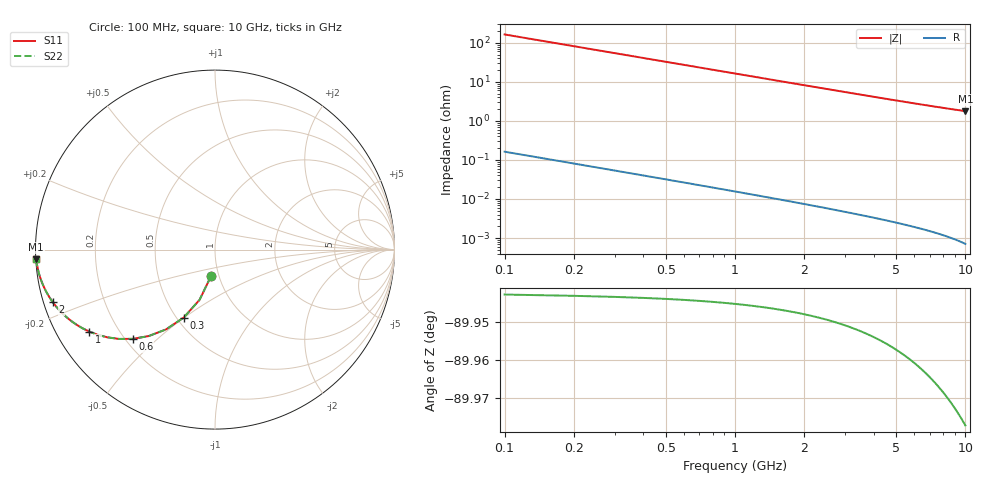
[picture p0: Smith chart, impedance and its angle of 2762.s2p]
# Hz S RI R 50.00
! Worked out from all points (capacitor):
!   100 points, 100 MHz to 10 GHz, reference 50 ohm
!   read as one part in shunt: C = 9.75 pF near 100 MHz
!   lowest |Z| = 1.78 ohm at 10 GHz (marker M1)
!   S11 on the Smith chart (normalised r, x): 100 MHz: 0.91, -0.28; 300 MHz: 0.54, -0.50; 600 MHz: 0.23, -0.42; 1 GHz: 0.10, -0.29; 2 GHz: 0.03, -0.16; 10 GHz: 0.00, -0.03
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1e8  -0.023 -0.1495  0.9769 -0.1497  0.9769 -0.1497  -0.023 -0.1495
2e8  -0.086 -0.2798  0.9139 -0.2801  0.9139 -0.2801  -0.086 -0.2798
3e8  -0.1746 -0.3789  0.8254 -0.3793  0.8254 -0.3793  -0.1746 -0.3789
4e8  -0.2731 -0.4448  0.7268 -0.4454  0.7268 -0.4454  -0.2731 -0.4448
5e8  -0.3698 -0.4819  0.6301 -0.4826  0.6301 -0.4826  -0.3698 -0.4819
6e8  -0.4579 -0.4973  0.542 -0.4982  0.542 -0.4982  -0.4579 -0.4973
7e8  -0.5347 -0.4978  0.4652 -0.4988  0.4652 -0.4988  -0.5347 -0.4978
8e8  -0.6001 -0.4888  0.3998 -0.49  0.3998 -0.49  -0.6001 -0.4888
9e8  -0.6551 -0.4742  0.3449 -0.4755  0.3449 -0.4755  -0.6551 -0.4742
1e9  -0.701 -0.4566  0.299 -0.4581  0.299 -0.4581  -0.701 -0.4566
1.1e9  -0.7393 -0.4377  0.2606 -0.4393  0.2606 -0.4393  -0.7393 -0.4377
1.3e9  -0.7984 -0.3997  0.2015 -0.4016  0.2015 -0.4016  -0.7984 -0.3997
1.5e9  -0.8405 -0.3644  0.1594 -0.3667  0.1594 -0.3667  -0.8405 -0.3644
1.8e9  -0.8835 -0.3188  0.1164 -0.3216  0.1164 -0.3216  -0.8835 -0.3188
2e9  -0.9035 -0.2932  0.0964 -0.2962  0.0964 -0.2962  -0.9035 -0.2932
2.7e9  -0.9446 -0.226  0.0553 -0.2301  0.0553 -0.2301  -0.9446 -0.226
3.4e9  -0.9644 -0.1821  0.0355 -0.1873  0.0355 -0.1873  -0.9644 -0.1821
4.2e9  -0.9764 -0.1479  0.0235 -0.1543  0.0235 -0.1543  -0.9764 -0.1479
5.1e9  -0.9839 -0.1212  0.016 -0.129  0.016 -0.129  -0.9839 -0.1212
6.7e9  -0.9906 -0.0901  0.00921 -0.1005  0.00921 -0.1005  -0.9906 -0.0901
8.4e9  -0.9941 -0.069  0.00575 -0.0822  0.00575 -0.0822  -0.9941 -0.069
1e10  -0.9958 -0.055  0.00394 -0.0709  0.00394 -0.0709  -0.9958 -0.055
